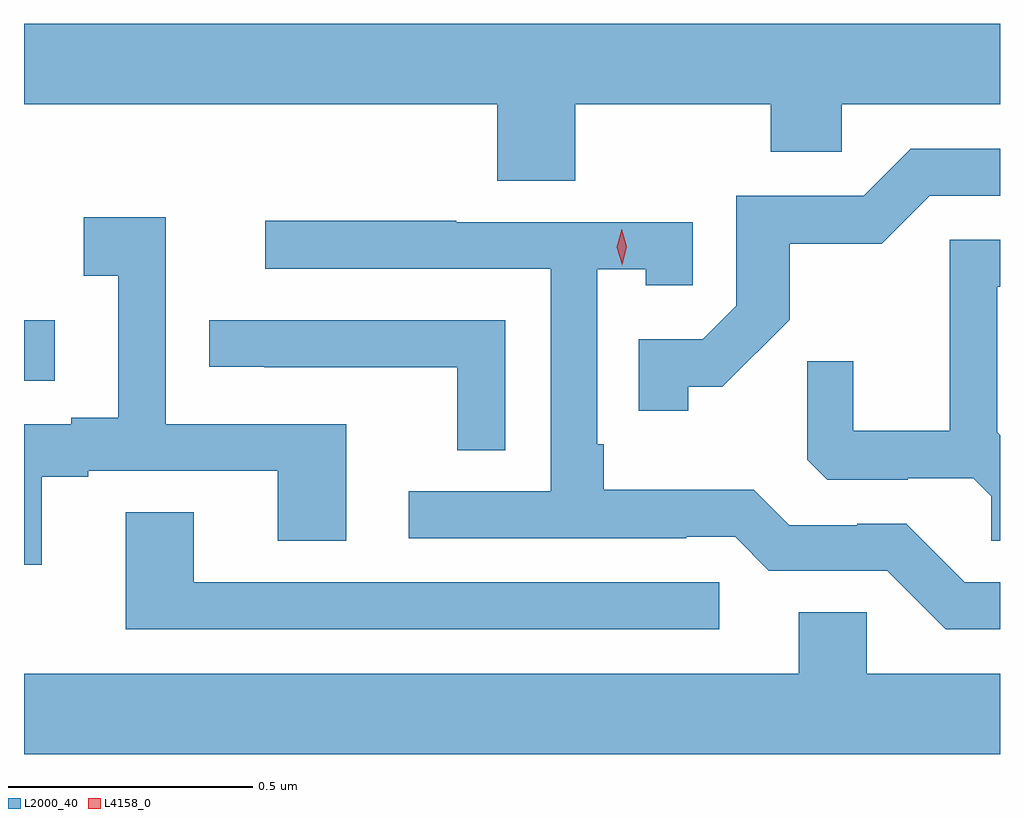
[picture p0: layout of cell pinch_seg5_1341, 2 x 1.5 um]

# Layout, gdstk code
import gdstk
lib = gdstk.Library(unit=1e-6, precision=1e-09)
def R(c, l, rs):  # rectangles x0, y0, x1, y1
    for r in rs: c.add(gdstk.rectangle(r[:2], r[2:], *l))
def P(c, l, *ps):  # polygons
    for p in ps: c.add(gdstk.Polygon(p, *l))
L2000_40 = (2000, 40)
L4158_0 = (4158, 0)

pinch_seg5_1341 = lib.new_cell('pinch_seg5_1341')
R(pinch_seg5_1341, L2000_40, [(395.377,864.185,395.44,864.309)])
P(pinch_seg5_1341, L2000_40, [(396.507,864.752),(396.907,864.752),(396.907,864.654),(397.053,864.654),(397.053,864.752),(397.377,864.752),(397.377,864.916),(395.377,864.916),(395.377,864.752),(396.347,864.752),(396.347,864.595),(396.507,864.595)],
  [(396.738,864.173),(396.808,864.173),(396.946,864.31),(396.946,864.466),(397.135,864.466),(397.233,864.564),(397.377,864.564),(397.377,864.66),(397.194,864.66),(397.098,864.564),(396.837,864.564),(396.837,864.339),(396.768,864.27),(396.637,864.27),(396.637,864.123),(396.738,864.123)],
  [(395.413,863.988),(395.509,863.988),(395.509,864),(395.897,864),(395.897,863.857),(396.037,863.857),(396.037,864.096),(395.667,864.096),(395.667,864.52),(395.499,864.52),(395.499,864.4),(395.57,864.4),(395.57,864.109),(395.474,864.109),(395.474,864.096),(395.377,864.096),(395.377,863.808),(395.413,863.808)],
  [(397.377,863.772),(397.305,863.772),(397.185,863.892),(397.084,863.892),(397.084,863.889),(396.945,863.889),(396.872,863.962),(396.565,863.962),(396.565,864.055),(396.552,864.055),(396.552,864.413),(396.651,864.413),(396.651,864.381),(396.747,864.381),(396.747,864.51),(396.263,864.51),(396.263,864.513),(395.871,864.513),(395.871,864.414),(396.456,864.414),(396.456,863.958),(396.165,863.958),(396.165,863.862),(396.734,863.862),(396.734,863.865),(396.834,863.865),(396.903,863.796),(397.146,863.796),(397.266,863.676),(397.377,863.676)],
  [(397.377,864.073),(397.371,864.079),(397.371,864.378),(397.377,864.378),(397.377,864.474),(397.274,864.474),(397.274,864.082),(397.076,864.082),(397.076,864.225),(396.982,864.225),(396.982,864.023),(397.023,863.982),(397.188,863.982),(397.188,863.985),(397.322,863.985),(397.359,863.948),(397.359,863.857),(397.377,863.857)],
  [(396.363,864.309),(395.757,864.309),(395.757,864.214),(395.869,864.214),(395.869,864.213),(396.265,864.213),(396.265,864.043),(396.363,864.043)],
  [(396.802,863.772),(395.725,863.772),(395.725,863.915),(395.585,863.915),(395.585,863.676),(396.802,863.676)],
  [(397.377,863.584),(397.104,863.584),(397.104,863.711),(396.965,863.711),(396.965,863.584),(395.377,863.584),(395.377,863.42),(397.377,863.42)])
P(pinch_seg5_1341, L4158_0, [(396.603,864.422),(396.603,864.423),(396.592,864.458),(396.602,864.495),(396.602,864.495),(396.602,864.495),(396.612,864.459),(396.603,864.423)])

lib.write_gds('pinch_seg5_1341.gds')
